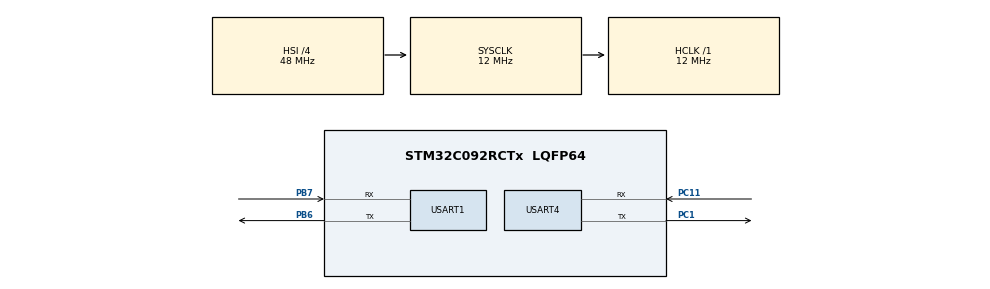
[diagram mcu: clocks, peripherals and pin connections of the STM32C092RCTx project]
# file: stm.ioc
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Mcu.Family=STM32C0
Mcu.Name=STM32C092RCTx
Mcu.Package=LQFP64
NUCLEO-C092RC.BUTTON=1
NUCLEO-C092RC.Bsp_Common_DEMO=true
NUCLEO-C092RC.LD1=true
NUCLEO-C092RC.LD2=true
NUCLEO-C092RC.VCP=true
NVIC.EXTI4_15_IRQn=true\:0\:0\:false\:false\:true\:false\:true\:true
NVIC.USART1_IRQn=true\:0\:0\:false\:false\:true\:true\:true\:true
NVIC.USART3_4_IRQn=true\:0\:0\:false\:false\:true\:true\:true\:true
PA13.GPIO_Label=SWDIO
PA13.Signal=DEBUG_SWDIO
PA14-BOOT0.GPIO_Label=SWCLK
PA14-BOOT0.Signal=DEBUG_SWCLK
PA2.Signal=USART2_TX
PA3.Signal=USART2_RX
PB6.Mode=Asynchronous
PB6.Signal=USART1_TX
PB7.Mode=Asynchronous
PB7.Signal=USART1_RX
PC1.Mode=Asynchronous
PC1.Signal=USART4_TX
PC11.Mode=Asynchronous
PC11.Signal=USART4_RX
PC14-OSCX_IN(PC14).GPIO_Label=OSCX_IN
PC14-OSCX_IN(PC14).Signal=RCC_OSCX_IN
PC15-OSCX_OUT(PC15).GPIO_Label=OSCX_OUT
PC15-OSCX_OUT(PC15).Signal=RCC_OSCX_OUT
PF0-OSC_IN(PF0).GPIO_Label=OSC_IN
PF0-OSC_IN(PF0).Mode=HSE-External-Oscillator
PF0-OSC_IN(PF0).Signal=RCC_OSC_IN
PF1-OSC_OUT(PF1).GPIO_Label=OSC_OUT
PF1-OSC_OUT(PF1).Mode=HSE-External-Oscillator
PF1-OSC_OUT(PF1).Signal=RCC_OSC_OUT
ProjectManager.HeapSize=0x200
ProjectManager.StackSize=0x400
ProjectManager.TargetToolchain=STM32CubeIDE
RCC.ADCFreq_Value=12000000
RCC.AHBFreq_Value=12000000
RCC.CortexFreq_Value=12000000
RCC.EXTERNAL_CLOCK_VALUE=12288000
RCC.HCLKFreq_Value=12000000
RCC.HSE_VALUE=8000000
RCC.HSI_VALUE=48000000
RCC.LSE_VALUE=32768
RCC.SYSCLKFreq_VALUE=12000000
USART1.VirtualMode-Asynchronous=VM_ASYNC
USART4.VirtualMode-Asynchronous=VM_ASYNC
VP_NUCLEO-C092RC_VS_BSP_COMMON.Mode=COMMON
board=NUCLEO-C092RC

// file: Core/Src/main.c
/* USER CODE BEGIN Header */
/**
  ******************************************************************************
  * @file           : main.c
  * @brief          : Main program body
  ******************************************************************************
  * @attention
  *
  * Copyright (c) 2026 STMicroelectronics.
  * All rights reserved.
  *
  * This software is licensed under terms that can be found in the LICENSE file
  * in the root directory of this software component.
  * If no LICENSE file comes with this software, it is provided AS-IS.
  *
  ******************************************************************************
  */
/* USER CODE END Header */
#include "main.h"

/* USER CODE BEGIN Includes */

#include "string.h"

/* USER CODE END Includes */

/* USER CODE BEGIN PD */

#define TIMEOUT_MS 2

/* USER CODE END PD */

/* USER CODE BEGIN PM */

#define UART_BUFSIZ 256

/* USER CODE END PM */

COM_InitTypeDef BspCOMInit;
__IO uint32_t BspButtonState = BUTTON_RELEASED;

UART_HandleTypeDef huart1;
UART_HandleTypeDef huart4;

/* USER CODE BEGIN PV */
UART_HandleTypeDef huart2;

/* USER CODE END PV */

void SystemClock_Config(void);
static void MX_GPIO_Init(void);
static void MX_USART1_UART_Init(void);
static void MX_USART4_UART_Init(void);

/* USER CODE BEGIN 0 */

// For scanf/getchar, you also need the _read() syscall implemented:
int _read(int file, char *ptr, int len)
{
    HAL_UART_Receive(&hcom_uart[ COM1 ], (uint8_t*)ptr, 1, HAL_MAX_DELAY);
    return 1;
}

int __io_getchar(void)
{
  uint8_t ch = 0;

  // 1. Clear the Overrun flag. If a character was typed before this function
  //    was called, the UART hardware locks up. This prevents that.
  __HAL_UART_CLEAR_OREFLAG(&huart1);

  // 2. Block until a character is actually received.
  //    Change &huart2 to match your VCP UART instance (e.g., &hlpuart1)
  HAL_UART_Receive(&hcom_uart[ COM1 ], &ch, 1, HAL_MAX_DELAY);

  // 3. Return the character to scanf/getchar
  return (int)ch;
}

/* USER CODE END 0 */

int main(void)
{

  /* MCU Configuration--------------------------------------------------------*/

  /* Reset of all peripherals, Initializes the Flash interface and the Systick. */
  HAL_Init();

  /* Configure the system clock */
  SystemClock_Config();

  /* Initialize all configured peripherals */
  MX_GPIO_Init();
  MX_USART1_UART_Init();
  MX_USART4_UART_Init();

  /* Initialize leds */
  BSP_LED_Init(LED_GREEN);
  BSP_LED_Init(LED_BLUE);

  /* Initialize USER push-button, will be used to trigger an interrupt each time it's pressed.*/
  BSP_PB_Init(BUTTON_USER, BUTTON_MODE_EXTI);

  /* Initialize COM1 port (115200, 8 bits (7-bit data + 1 stop bit), no parity */
  BspCOMInit.BaudRate   = 115200;
  BspCOMInit.WordLength = COM_WORDLENGTH_8B;
  BspCOMInit.StopBits   = COM_STOPBITS_1;
  BspCOMInit.Parity     = COM_PARITY_NONE;
  BspCOMInit.HwFlowCtl  = COM_HWCONTROL_NONE;
  if (BSP_COM_Init(COM1, &BspCOMInit) != BSP_ERROR_NONE)
  {
    Error_Handler();
  }

  /* USER CODE BEGIN BSP */

  /* -- Sample board code to send message over COM1 port ---- */
  printf("Welcome to STM32 world !\r\n");

  /* -- Sample board code to switch on leds ---- */
  //BSP_LED_On(LED_GREEN);
  BSP_LED_On(LED_BLUE);

  //HAL_Delay( 10000 );

  /* USER CODE END BSP */

  /* Infinite loop */
  /* USER CODE BEGIN WHILE */
//  uint8_t pcByte;
//  uint8_t picoByte;
//  char bridgeReady[] = "STM32 UART bridge ready\r\n";
//
//  printf("%s", bridgeReady);
//  HAL_UART_Transmit(&huart1, (uint8_t *)bridgeReady, strlen(bridgeReady), HAL_MAX_DELAY);

  while (1)
  {

    //
    /* -- Sample board code to toggle leds ---- */

    /* -- Sample board code for User push-button in interrupt mode ---- */
    if (BspButtonState == BUTTON_PRESSED)
    {
      /* Reset button state */
      BspButtonState = BUTTON_RELEASED;

      BSP_LED_Toggle(LED_GREEN);
      BSP_LED_Toggle(LED_BLUE);

      /* ..... Perform your action ..... */
      const char *txt = "Segmentation fault (core dumped)\r\n";
      //printf( "%s", txt );
    }
    /* USER CODE END WHILE */

    /* USER CODE BEGIN 3 */

    static uint8_t
		c_uart = 0, c_usb = 0;

//    if (__HAL_UART_GET_FLAG(&hcom_uart[COM1], UART_FLAG_RXNE) != RESET)
//    {
//      pcByte = (uint8_t)hcom_uart[COM1].Instance->RDR;
//      while (__HAL_UART_GET_FLAG(&huart1, UART_FLAG_TXE) == RESET)
//      {
//      }
//      huart1.Instance->TDR = pcByte;
//    }

    if ( HAL_OK == HAL_UART_Receive( &huart1, &c_uart, 1, 0 ) )
    {
    	HAL_UART_Transmit( &hcom_uart[ COM1 ], &c_uart, 1, 0 );
    }

    if ( HAL_OK == HAL_UART_Receive( &hcom_uart[ COM1 ], &c_usb, 1, 0 ) )
    {
    	HAL_UART_Transmit( &huart1, &c_usb, 1, 0 );
    }

//    if (__HAL_UART_GET_FLAG(&huart1, UART_FLAG_RXNE) != RESET)
//    {
//      picoByte = (uint8_t)huart1.Instance->RDR;
//      while (__HAL_UART_GET_FLAG(&hcom_uart[COM1], UART_FLAG_TXE) == RESET)
//      {
//      }
//      hcom_uart[COM1].Instance->TDR = picoByte;
//    }

//    HAL_Delay( 3000 );
  }
  /* USER CODE END 3 */
}

void SystemClock_Config(void)
{
  RCC_OscInitTypeDef RCC_OscInitStruct = {0};
  RCC_ClkInitTypeDef RCC_ClkInitStruct = {0};

  __HAL_FLASH_SET_LATENCY(FLASH_LATENCY_0);

  /** Initializes the RCC Oscillators according to the specified parameters
  * in the RCC_OscInitTypeDef structure.
  */
  RCC_OscInitStruct.OscillatorType = RCC_OSCILLATORTYPE_HSI;
  RCC_OscInitStruct.HSIState = RCC_HSI_ON;
  RCC_OscInitStruct.HSIDiv = RCC_HSI_DIV4;
  RCC_OscInitStruct.HSICalibrationValue = RCC_HSICALIBRATION_DEFAULT;
  if (HAL_RCC_OscConfig(&RCC_OscInitStruct) != HAL_OK)
  {
    Error_Handler();
  }

  /** Initializes the CPU, AHB and APB buses clocks
  */
  RCC_ClkInitStruct.ClockType = RCC_CLOCKTYPE_HCLK|RCC_CLOCKTYPE_SYSCLK
                              |RCC_CLOCKTYPE_PCLK1;
  RCC_ClkInitStruct.SYSCLKSource = RCC_SYSCLKSOURCE_HSI;
  RCC_ClkInitStruct.SYSCLKDivider = RCC_SYSCLK_DIV1;
  RCC_ClkInitStruct.AHBCLKDivider = RCC_HCLK_DIV1;
  RCC_ClkInitStruct.APB1CLKDivider = RCC_APB1_DIV1;

  if (HAL_RCC_ClockConfig(&RCC_ClkInitStruct, FLASH_LATENCY_0) != HAL_OK)
  {
    Error_Handler();
  }
}

static void MX_USART1_UART_Init(void)
{

  huart1.Instance = USART1;
  huart1.Init.BaudRate = 115200;
  huart1.Init.WordLength = UART_WORDLENGTH_8B;
  huart1.Init.StopBits = UART_STOPBITS_1;
  huart1.Init.Parity = UART_PARITY_NONE;
  huart1.Init.Mode = UART_MODE_TX_RX;
  huart1.Init.HwFlowCtl = UART_HWCONTROL_NONE;
  huart1.Init.OverSampling = UART_OVERSAMPLING_16;
  huart1.Init.OneBitSampling = UART_ONE_BIT_SAMPLE_DISABLE;
  huart1.Init.ClockPrescaler = UART_PRESCALER_DIV1;
  huart1.AdvancedInit.AdvFeatureInit = UART_ADVFEATURE_NO_INIT;
  if (HAL_UART_Init(&huart1) != HAL_OK)
  {
    Error_Handler();
  }
  if (HAL_UARTEx_SetTxFifoThreshold(&huart1, UART_TXFIFO_THRESHOLD_1_8) != HAL_OK)
  {
    Error_Handler();
  }
  if (HAL_UARTEx_SetRxFifoThreshold(&huart1, UART_RXFIFO_THRESHOLD_1_8) != HAL_OK)
  {
    Error_Handler();
  }
  if (HAL_UARTEx_DisableFifoMode(&huart1) != HAL_OK)
  {
    Error_Handler();
  }

}

static void MX_USART4_UART_Init(void)
{

  huart4.Instance = USART4;
  huart4.Init.BaudRate = 115200;
  huart4.Init.WordLength = UART_WORDLENGTH_8B;
  huart4.Init.StopBits = UART_STOPBITS_1;
  huart4.Init.Parity = UART_PARITY_NONE;
  huart4.Init.Mode = UART_MODE_TX_RX;
  huart4.Init.HwFlowCtl = UART_HWCONTROL_NONE;
  huart4.Init.OverSampling = UART_OVERSAMPLING_16;
  huart4.Init.OneBitSampling = UART_ONE_BIT_SAMPLE_DISABLE;
  huart4.Init.ClockPrescaler = UART_PRESCALER_DIV1;
  huart4.AdvancedInit.AdvFeatureInit = UART_ADVFEATURE_NO_INIT;
  if (HAL_UART_Init(&huart4) != HAL_OK)
  {
    Error_Handler();
  }

}

static void MX_GPIO_Init(void)
{

  /* GPIO Ports Clock Enable */
  __HAL_RCC_GPIOC_CLK_ENABLE();
  __HAL_RCC_GPIOF_CLK_ENABLE();
  __HAL_RCC_GPIOA_CLK_ENABLE();
  __HAL_RCC_GPIOB_CLK_ENABLE();

}

/**
  * @brief  BSP Push Button callback
  * @param  Button Specifies the pressed button
  * @retval None
  */
void BSP_PB_Callback(Button_TypeDef Button)
{
  if (Button == BUTTON_USER)
  {
    BspButtonState = BUTTON_PRESSED;
  }
}

void Error_Handler(void)
{
  __disable_irq();
  while (1)
  {
  }
}
